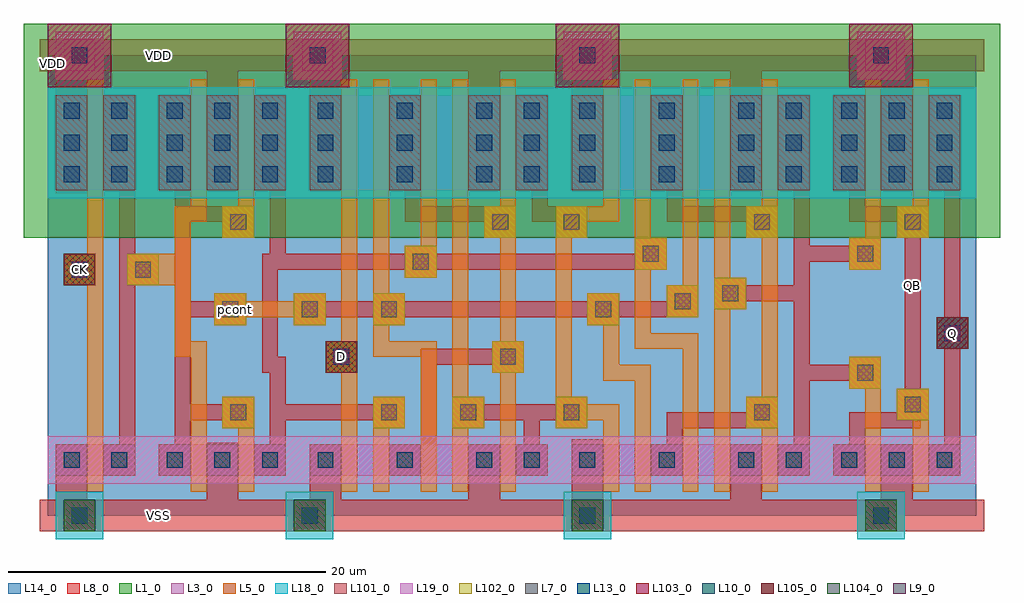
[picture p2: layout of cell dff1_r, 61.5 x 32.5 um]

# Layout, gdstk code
import gdstk
lib = gdstk.Library(unit=1e-6, precision=1e-09)
def R(c, l, rs):  # rectangles x0, y0, x1, y1
    for r in rs: c.add(gdstk.rectangle(r[:2], r[2:], *l))
L1_0 = (1, 0)
L3_0 = (3, 0)
L5_0 = (5, 0)
L7_0 = (7, 0)
L8_0 = (8, 0)
L9_0 = (9, 0)
L10_0 = (10, 0)
L13_0 = (13, 0)
L14_0 = (14, 0)
L18_0 = (18, 0)
L19_0 = (19, 0)
L101_0 = (101, 0)
L102_0 = (102, 0)
L103_0 = (103, 0)
L104_0 = (104, 0)
L105_0 = (105, 0)

pcont = lib.new_cell('pcont')
R(pcont, L5_0, [(-1,-1,1,1)])
R(pcont, L7_0, [(-0.5,-0.5,0.5,0.5)])
R(pcont, L8_0, [(-1,-1,1,1)])
R(pcont, L102_0, [(-1,-1,1,1)])
pcont.add(gdstk.Label('pcont', (0,0), layer=13, texttype=0))

dcont = lib.new_cell('dcont')
R(dcont, L3_0, [(-1,-1,1,1)])
R(dcont, L7_0, [(-0.5,-0.5,0.5,0.5)])
R(dcont, L8_0, [(-1,-1,1,1)])
R(dcont, L13_0, [(-0.5,-0.5,0.5,0.5)])
R(dcont, L101_0, [(-1,-1,1,1)])
dcont.add(gdstk.Label('dcont', (0,0), layer=13, texttype=0))

nsubcont = lib.new_cell('nsubcont')
R(nsubcont, L1_0, [(-2,-2,2,2)])
R(nsubcont, L19_0, [(-1.5,-1.5,1.5,1.5)])
R(nsubcont, L103_0, [(-2,-2,2,2)])
nsubcont.add(gdstk.Reference(dcont, (0,0)))
nsubcont.add(gdstk.Label('NScont', (0,0), layer=13, texttype=0))

via = lib.new_cell('Via')
R(via, L8_0, [(-1,-1,1,1)])
R(via, L9_0, [(-0.5,-0.5,0.5,0.5)])
R(via, L10_0, [(-1,-1,1,1)])
R(via, L13_0, [(-0.5,-0.5,0.5,0.5)])
R(via, L105_0, [(-1,-1,1,1)])
via.add(gdstk.Label('via', (0,0), layer=13, texttype=0))

psubcont = lib.new_cell('psubcont')
R(psubcont, L18_0, [(-1.5,-1.5,1.5,1.5)])
R(psubcont, L104_0, [(-1,-1,1,1)])
psubcont.add(gdstk.Reference(dcont, (0,0)))
psubcont.add(gdstk.Label('PScon', (0,0), layer=13, texttype=0))

dff1_r = lib.new_cell('dff1_r')
R(dff1_r, L1_0, [(-1.5,17.5,7.8,31), (5.3,17.5,60,31)])
R(dff1_r, L3_0, [(0.5,2.5,5.5,4.5), (7,2.5,15,4.5), (16.5,2.5,31.5,4.5), (33,2.5,48,4.5), (49.5,2.5,57.5,4.5), (0.5,20.5,5.5,26.5), (7,20.5,15,26.5), (16.5,20.5,31.5,26.5), (33,20.5,48,26.5), (49.5,20.5,57.5,26.5)])
R(dff1_r, L5_0, [(7,14.5,9,16.5)])
R(dff1_r, L8_0, [(-0.5,-1,59,1), (-0.5,-1,7,1), (6,-1,59,1), (21.5,2.5,24.5,4.5), (17.5,9,19.5,11), (17.5,9,19.5,11), (56,10.5,58,12.5), (56,10.5,58,12.5), (1,14.5,3,16.5), (1,14.5,3,16.5), (-0.5,28,59,30), (-0.5,28,7,30), (6,28,59,30)])
R(dff1_r, L10_0, [(17.5,9,19.5,11), (17.5,9,19.5,11), (56,10.5,58,12.5), (56,10.5,58,12.5), (1,14.5,3,16.5), (1,14.5,3,16.5)])
R(dff1_r, L14_0, [(0,0,58.5,29)])
R(dff1_r, L18_0, [(0,20,6.5,27), (6.5,20,58.5,27)])
R(dff1_r, L19_0, [(0,2,6.5,5), (6.5,2,58.5,5)])
R(dff1_r, L105_0, [(17.5,9,19.5,11), (56,10.5,58,12.5), (1,14.5,3,16.5)])
dff1_r.add(gdstk.FlexPath([(55,27),(55,18.9)], 1, ends="extended", simple_path=True, layer=5, datatype=0))  # L5_0
dff1_r.add(gdstk.FlexPath([(55,2),(55,6.7)], 1, ends="extended", simple_path=True, layer=5, datatype=0))  # L5_0
dff1_r.add(gdstk.FlexPath([(52,27),(52,17.2)], 1, ends="extended", simple_path=True, layer=5, datatype=0))  # L5_0
dff1_r.add(gdstk.FlexPath([(52,2),(52,9)], 1, ends="extended", simple_path=True, layer=5, datatype=0))  # L5_0
dff1_r.add(gdstk.FlexPath([(45.5,27),(45.5,2)], 1, ends="extended", simple_path=True, layer=5, datatype=0))  # L5_0
dff1_r.add(gdstk.FlexPath([(42.5,27),(42.5,2)], 1, ends="extended", simple_path=True, layer=5, datatype=0))  # L5_0
dff1_r.add(gdstk.FlexPath([(40.5,27),(40.5,13.5)], 1, ends="extended", simple_path=True, layer=5, datatype=0))  # L5_0
dff1_r.add(gdstk.FlexPath([(37.5,27),(37.5,11),(40.5,11),(40.5,2)], 1, ends="extended", simple_path=True, layer=5, datatype=0))  # L5_0
dff1_r.add(gdstk.FlexPath([(37.5,2),(37.5,9),(35.5,9),(35.5,13)], 1, ends="extended", simple_path=True, layer=5, datatype=0))  # L5_0
dff1_r.add(gdstk.FlexPath([(35.5,27),(35.5,19),(32.5,19),(32.5,6.5),(35.5,6.5),(35.5,2)], 1, ends="extended", simple_path=True, layer=5, datatype=0))  # L5_0
dff1_r.add(gdstk.FlexPath([(29,27),(29,2)], 1, ends="extended", simple_path=True, layer=5, datatype=0))  # L5_0
dff1_r.add(gdstk.FlexPath([(26,27),(26,2)], 1, ends="extended", simple_path=True, layer=5, datatype=0))  # L5_0
dff1_r.add(gdstk.FlexPath([(24,27),(24,16)], 1, ends="extended", simple_path=True, layer=5, datatype=0))  # L5_0
dff1_r.add(gdstk.FlexPath([(21,27),(21,10.5),(24,10.5),(24,2)], 1, ends="extended", simple_path=True, layer=5, datatype=0))  # L5_0
dff1_r.add(gdstk.FlexPath([(21,2),(21,6.4)], 1, ends="extended", simple_path=True, layer=5, datatype=0))  # L5_0
dff1_r.add(gdstk.FlexPath([(19,2),(19,27)], 1, ends="extended", simple_path=True, layer=5, datatype=0))  # L5_0
dff1_r.add(gdstk.FlexPath([(11.5,13),(16.5,13)], 1, ends="extended", simple_path=True, layer=5, datatype=0))  # L5_0
dff1_r.add(gdstk.FlexPath([(12.5,18.6),(12.5,27)], 1, ends="extended", simple_path=True, layer=5, datatype=0))  # L5_0
dff1_r.add(gdstk.FlexPath([(12.5,2),(12.5,6.8)], 1, ends="extended", simple_path=True, layer=5, datatype=0))  # L5_0
dff1_r.add(gdstk.FlexPath([(9.5,27),(9.5,19),(8.5,19),(8.5,10.5),(9.5,10.5),(9.5,2)], 1, ends="extended", simple_path=True, layer=5, datatype=0))  # L5_0
dff1_r.add(gdstk.FlexPath([(3,27),(3,2)], 1, ends="extended", simple_path=True, layer=5, datatype=0))  # L5_0
dff1_r.add(gdstk.FlexPath([(24,4),(24,10),(29,10)], 1, ends="extended", simple_path=True, layer=8, datatype=0))  # L8_0
dff1_r.add(gdstk.FlexPath([(57,3.5),(57,26)], 1, ends="extended", simple_path=True, layer=8, datatype=0))  # L8_0
dff1_r.add(gdstk.FlexPath([(56.5,22.3),(56.5,25.5)], 1.4, ends="extended", simple_path=True, layer=8, datatype=0))  # L8_0
dff1_r.add(gdstk.FlexPath([(56.5,22.3),(56.5,25.5)], 1.4, ends="extended", simple_path=True, layer=8, datatype=0))  # L8_0
dff1_r.add(gdstk.FlexPath([(53.5,21.8),(53.5,28.5)], 2, ends="extended", simple_path=True, layer=8, datatype=0))  # L8_0
dff1_r.add(gdstk.FlexPath([(53.5,3.5),(53.5,1.5)], 2, ends="extended", simple_path=True, layer=8, datatype=0))  # L8_0
dff1_r.add(gdstk.FlexPath([(51,3.8),(51,6),(54.5,6),(54.5,19),(51,19),(51,21.8)], 1, ends="extended", simple_path=True, layer=8, datatype=0))  # L8_0
dff1_r.add(gdstk.FlexPath([(50.5,22.3),(50.5,25.5)], 1.4, ends="extended", simple_path=True, layer=8, datatype=0))  # L8_0
dff1_r.add(gdstk.FlexPath([(51.5,16.5),(47.5,16.5)], 1, ends="extended", simple_path=True, layer=8, datatype=0))  # L8_0
dff1_r.add(gdstk.FlexPath([(51.5,9),(47.5,9)], 1, ends="extended", simple_path=True, layer=8, datatype=0))  # L8_0
dff1_r.add(gdstk.FlexPath([(47.5,25.8),(47.5,3.5)], 1, ends="extended", simple_path=True, layer=8, datatype=0))  # L8_0
dff1_r.add(gdstk.FlexPath([(47,22.3),(47,25.5)], 1.4, ends="extended", simple_path=True, layer=8, datatype=0))  # L8_0
dff1_r.add(gdstk.FlexPath([(43,14),(47.5,14)], 1, ends="extended", simple_path=True, layer=8, datatype=0))  # L8_0
dff1_r.add(gdstk.FlexPath([(44,21.8),(44,28.5)], 2, ends="extended", simple_path=True, layer=8, datatype=0))  # L8_0
dff1_r.add(gdstk.FlexPath([(44,3.5),(44,1.2)], 2, ends="extended", simple_path=True, layer=8, datatype=0))  # L8_0
dff1_r.add(gdstk.FlexPath([(39.5,3.8),(39.5,6),(44.9,6)], 1, ends="extended", simple_path=True, layer=8, datatype=0))  # L8_0
dff1_r.add(gdstk.FlexPath([(45.3,19),(39.5,19),(39.5,21.8)], 1, ends="extended", simple_path=True, layer=8, datatype=0))  # L8_0
dff1_r.add(gdstk.FlexPath([(39,22.3),(39,25.5)], 1.4, ends="extended", simple_path=True, layer=8, datatype=0))  # L8_0
dff1_r.add(gdstk.FlexPath([(34,21.8),(34,28.5)], 2, ends="extended", simple_path=True, layer=8, datatype=0))  # L8_0
dff1_r.add(gdstk.FlexPath([(34,3.8),(34,1.5)], 2, ends="extended", simple_path=True, layer=8, datatype=0))  # L8_0
dff1_r.add(gdstk.FlexPath([(33.3,19),(31,19),(31,21.8),(30.8,21.8)], 1, ends="extended", simple_path=True, layer=8, datatype=0))  # L8_0
dff1_r.add(gdstk.FlexPath([(30.5,22.3),(30.5,25.5)], 1.4, ends="extended", simple_path=True, layer=8, datatype=0))  # L8_0
dff1_r.add(gdstk.FlexPath([(30.5,6.5),(30.5,3.5)], 1, ends="extended", simple_path=True, layer=8, datatype=0))  # L8_0
dff1_r.add(gdstk.FlexPath([(26.5,6.5),(33,6.5)], 1, ends="extended", simple_path=True, layer=8, datatype=0))  # L8_0
dff1_r.add(gdstk.FlexPath([(16.5,13),(40.4,13)], 1, ends="extended", simple_path=True, layer=8, datatype=0))  # L8_0
dff1_r.add(gdstk.FlexPath([(27.5,21.8),(27.5,28.5)], 2, ends="extended", simple_path=True, layer=8, datatype=0))  # L8_0
dff1_r.add(gdstk.FlexPath([(27.5,3.5),(27.5,1.5)], 2, ends="extended", simple_path=True, layer=8, datatype=0))  # L8_0
dff1_r.add(gdstk.FlexPath([(14.5,3.6),(14.5,9.5),(14,9.5),(14,16),(37.5,16)], 1, ends="extended", simple_path=True, layer=8, datatype=0))  # L8_0
dff1_r.add(gdstk.FlexPath([(23,21.5),(23,19),(28.5,19)], 1, ends="extended", simple_path=True, layer=8, datatype=0))  # L8_0
dff1_r.add(gdstk.FlexPath([(22.5,22.3),(22.5,25.5)], 1.4, ends="extended", simple_path=True, layer=8, datatype=0))  # L8_0
dff1_r.add(gdstk.FlexPath([(21.5,6.5),(14.5,6.5)], 1, ends="extended", simple_path=True, layer=8, datatype=0))  # L8_0
dff1_r.add(gdstk.FlexPath([(17.5,21.8),(17.5,28.5)], 2, ends="extended", simple_path=True, layer=8, datatype=0))  # L8_0
dff1_r.add(gdstk.FlexPath([(17.5,3.5),(17.5,1.5)], 2, ends="extended", simple_path=True, layer=8, datatype=0))  # L8_0
dff1_r.add(gdstk.FlexPath([(14.5,25.8),(14.5,16)], 1, ends="extended", simple_path=True, layer=8, datatype=0))  # L8_0
dff1_r.add(gdstk.FlexPath([(14,22.3),(14,25.5)], 1.4, ends="extended", simple_path=True, layer=8, datatype=0))  # L8_0
dff1_r.add(gdstk.FlexPath([(11,21.8),(11,28.5)], 2, ends="extended", simple_path=True, layer=8, datatype=0))  # L8_0
dff1_r.add(gdstk.FlexPath([(11,3.6),(11,1.5)], 2, ends="extended", simple_path=True, layer=8, datatype=0))  # L8_0
dff1_r.add(gdstk.FlexPath([(12.3,6.5),(8.5,6.5)], 1, ends="extended", simple_path=True, layer=8, datatype=0))  # L8_0
dff1_r.add(gdstk.FlexPath([(12,19),(8.5,19)], 1, ends="extended", simple_path=True, layer=8, datatype=0))  # L8_0
dff1_r.add(gdstk.FlexPath([(11.5,13),(8.5,13)], 1, ends="extended", simple_path=True, layer=8, datatype=0))  # L8_0
dff1_r.add(gdstk.FlexPath([(8.5,3.5),(8.5,21.4)], 1, ends="extended", simple_path=True, layer=8, datatype=0))  # L8_0
dff1_r.add(gdstk.FlexPath([(8,22.3),(8,25.5)], 1.4, ends="extended", simple_path=True, layer=8, datatype=0))  # L8_0
dff1_r.add(gdstk.FlexPath([(5,20.5),(5,3.8)], 1, ends="extended", simple_path=True, layer=8, datatype=0))  # L8_0
dff1_r.add(gdstk.FlexPath([(4.5,22.3),(4.5,25.5)], 1.4, ends="extended", simple_path=True, layer=8, datatype=0))  # L8_0
dff1_r.add(gdstk.FlexPath([(1.5,1),(1.5,3.5)], 2, ends="extended", simple_path=True, layer=8, datatype=0))  # L8_0
dff1_r.add(gdstk.FlexPath([(1.5,21.3),(1.5,28.5)], 2, ends="extended", simple_path=True, layer=8, datatype=0))  # L8_0
dff1_r.add(gdstk.Reference(pcont, (6,15.5)))
dff1_r.add(gdstk.Reference(dcont, (47,25.5)))
dff1_r.add(gdstk.Reference(pcont, (12,6.5)))
dff1_r.add(gdstk.Reference(dcont, (8,25.5)))
dff1_r.add(gdstk.Reference(nsubcont, (52.5,29)))
dff1_r.add(gdstk.Reference(pcont, (33,18.5)))
dff1_r.add(gdstk.Reference(via, (18.5,10)))
dff1_r.add(gdstk.Reference(dcont, (47,3.5)))
dff1_r.add(gdstk.Reference(pcont, (54.5,18.5)))
dff1_r.add(gdstk.Reference(dcont, (11,21.5)))
dff1_r.add(gdstk.Reference(pcont, (11.5,13)))
dff1_r.add(gdstk.Reference(dcont, (56.5,23.5)))
dff1_r.add(gdstk.Reference(dcont, (8,23.5)))
dff1_r.add(gdstk.Reference(dcont, (30.5,23.5)))
dff1_r.add(gdstk.Reference(psubcont, (52.5,0)))
dff1_r.add(gdstk.Reference(dcont, (44,23.5)))
dff1_r.add(gdstk.Reference(dcont, (53.5,21.5)))
dff1_r.add(gdstk.Reference(dcont, (39,23.5)))
dff1_r.add(gdstk.Reference(via, (57,11.5)))
dff1_r.add(gdstk.Reference(dcont, (50.5,25.5)))
dff1_r.add(gdstk.Reference(dcont, (47,21.5)))
dff1_r.add(gdstk.Reference(pcont, (35,13)))
dff1_r.add(gdstk.Reference(dcont, (53.5,23.5)))
dff1_r.add(gdstk.Reference(dcont, (56.5,3.5)))
dff1_r.add(gdstk.Reference(dcont, (11,25.5)))
dff1_r.add(gdstk.Reference(dcont, (50.5,3.5)))
dff1_r.add(gdstk.Reference(dcont, (8,21.5)))
dff1_r.add(gdstk.Reference(pcont, (18.5,10)))
dff1_r.add(gdstk.Reference(pcont, (51.5,16.5)))
dff1_r.add(gdstk.Reference(dcont, (30.5,25.5)))
dff1_r.add(gdstk.Reference(psubcont, (34,0)))
dff1_r.add(gdstk.Reference(dcont, (17.5,21.5)))
dff1_r.add(gdstk.Reference(dcont, (30.5,3.5)))
dff1_r.add(gdstk.Reference(pcont, (16.5,13)))
dff1_r.add(gdstk.Reference(pcont, (51.5,9)))
dff1_r.add(gdstk.Reference(pcont, (38,16.5)))
dff1_r.add(gdstk.Reference(dcont, (22.5,21.5)))
dff1_r.add(gdstk.Reference(nsubcont, (17,29)))
dff1_r.add(gdstk.Reference(dcont, (27.5,25.5)))
dff1_r.add(gdstk.Reference(dcont, (56.5,21.5)))
dff1_r.add(gdstk.Reference(pcont, (28.5,18.5)))
dff1_r.add(gdstk.Reference(dcont, (56.5,25.5)))
dff1_r.add(gdstk.Reference(dcont, (17.5,25.5)))
dff1_r.add(gdstk.Reference(dcont, (17.5,3.5)))
dff1_r.add(gdstk.Reference(dcont, (44,21.5)))
dff1_r.add(gdstk.Reference(pcont, (23.5,16)))
dff1_r.add(gdstk.Reference(dcont, (39,21.5)))
dff1_r.add(gdstk.Reference(dcont, (30.5,21.5)))
dff1_r.add(gdstk.Reference(dcont, (47,23.5)))
dff1_r.add(gdstk.Reference(dcont, (34,3.5)))
dff1_r.add(gdstk.Reference(dcont, (50.5,23.5)))
dff1_r.add(gdstk.Reference(pcont, (33,6.5)))
dff1_r.add(gdstk.Reference(dcont, (34,23.5)))
dff1_r.add(gdstk.Reference(dcont, (14,21.5)))
dff1_r.add(gdstk.Reference(pcont, (43,14)))
dff1_r.add(gdstk.Reference(pcont, (21.5,6.5)))
dff1_r.add(gdstk.Reference(dcont, (11,3.5)))
dff1_r.add(gdstk.Reference(dcont, (44,3.5)))
dff1_r.add(gdstk.Reference(dcont, (27.5,3.5)))
dff1_r.add(gdstk.Reference(dcont, (22.5,3.5)))
dff1_r.add(gdstk.Reference(dcont, (27.5,21.5)))
dff1_r.add(gdstk.Reference(dcont, (8,3.5)))
dff1_r.add(gdstk.Reference(dcont, (11,23.5)))
dff1_r.add(gdstk.Reference(dcont, (27.5,23.5)))
dff1_r.add(gdstk.Reference(dcont, (44,25.5)))
dff1_r.add(gdstk.Reference(dcont, (34,21.5)))
dff1_r.add(gdstk.Reference(dcont, (39,25.5)))
dff1_r.add(gdstk.Reference(pcont, (26.5,6.5)))
dff1_r.add(gdstk.Reference(dcont, (53.5,25.5)))
dff1_r.add(gdstk.Reference(dcont, (22.5,23.5)))
dff1_r.add(gdstk.Reference(pcont, (45,6.5)))
dff1_r.add(gdstk.Reference(dcont, (17.5,23.5)))
dff1_r.add(gdstk.Reference(pcont, (21.5,13)))
dff1_r.add(gdstk.Reference(dcont, (34,25.5)))
dff1_r.add(gdstk.Reference(pcont, (12,18.5)))
dff1_r.add(gdstk.Reference(psubcont, (16.5,0)))
dff1_r.add(gdstk.Reference(dcont, (50.5,21.5)))
dff1_r.add(gdstk.Reference(pcont, (29,10)))
dff1_r.add(gdstk.Reference(pcont, (45,18.5)))
dff1_r.add(gdstk.Reference(pcont, (40,13.5)))
dff1_r.add(gdstk.Reference(dcont, (14,3.5)))
dff1_r.add(gdstk.Reference(dcont, (22.5,25.5)))
dff1_r.add(gdstk.Reference(dcont, (14,23.5)))
dff1_r.add(gdstk.Reference(dcont, (39,3.5)))
dff1_r.add(gdstk.Reference(pcont, (54.5,7)))
dff1_r.add(gdstk.Reference(nsubcont, (34,29)))
dff1_r.add(gdstk.Reference(dcont, (14,25.5)))
dff1_r.add(gdstk.Reference(dcont, (53.5,3.5)))
dff1_r.add(gdstk.Reference(pcont, (2,15.5)))
dff1_r.add(gdstk.Reference(dcont, (4.5,21.5)))
dff1_r.add(gdstk.Reference(nsubcont, (2,29)))
dff1_r.add(gdstk.Reference(dcont, (1.5,21.5)))
dff1_r.add(gdstk.Reference(via, (2,15.5)))
dff1_r.add(gdstk.Reference(dcont, (4.5,3.5)))
dff1_r.add(gdstk.Reference(dcont, (1.5,3.5)))
dff1_r.add(gdstk.Reference(dcont, (1.5,23.5)))
dff1_r.add(gdstk.Reference(psubcont, (2,0)))
dff1_r.add(gdstk.Reference(dcont, (4.5,25.5)))
dff1_r.add(gdstk.Reference(dcont, (1.5,25.5)))
dff1_r.add(gdstk.Reference(dcont, (4.5,23.5)))
dff1_r.add(gdstk.Label('VSS', (7,0), layer=8, texttype=0))
dff1_r.add(gdstk.Label('VDD', (7,29), layer=8, texttype=0))
dff1_r.add(gdstk.Label('VDD', (0.3,28.5), layer=8, texttype=0))
dff1_r.add(gdstk.Label('QB', (54.5,14.5), layer=8, texttype=0))
dff1_r.add(gdstk.Label('CK', (2,15.5), layer=10, texttype=0))
dff1_r.add(gdstk.Label('D', (18.5,10), layer=10, texttype=0))
dff1_r.add(gdstk.Label('Q', (57,11.5), layer=10, texttype=0))
dff1_r.add(gdstk.Label('A', (1.5,16), layer=10, texttype=0))
dff1_r.add(gdstk.Label('via', (57,11.5), layer=13, texttype=0))
dff1_r.add(gdstk.Label('via', (18.5,10), layer=13, texttype=0))
dff1_r.add(gdstk.Label('via', (18.5,10), layer=13, texttype=0))
dff1_r.add(gdstk.Label('pcont', (11.8,13), layer=13, texttype=0))
dff1_r.add(gdstk.Label('via', (2,15.5), layer=13, texttype=0))

lib.write_gds('dff1_r.gds')
